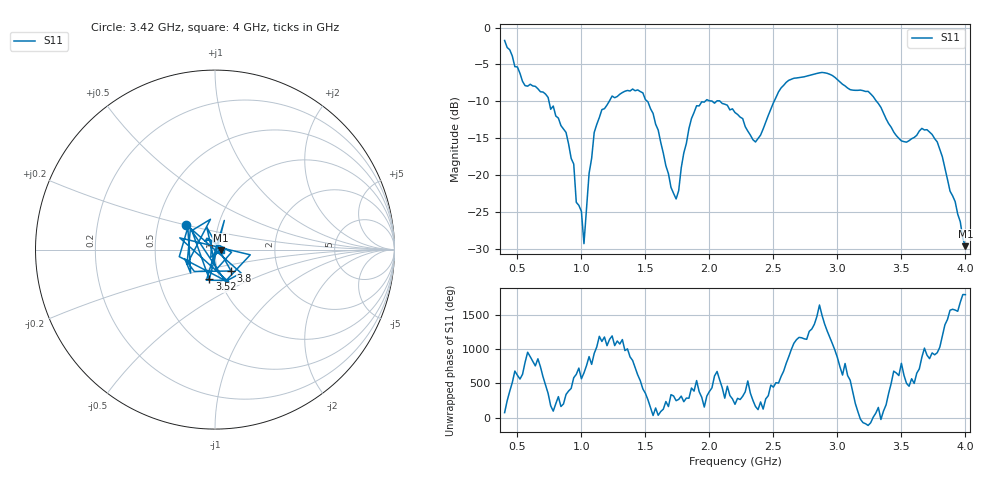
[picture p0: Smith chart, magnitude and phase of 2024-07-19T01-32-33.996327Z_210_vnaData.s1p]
!Created with skrf (http://scikit-rf.org).
# Hz S RI R 50.0
!freq ReS11 ImS11
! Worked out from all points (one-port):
!   181 points, 400 MHz to 4 GHz, reference 50 ohm
!   lowest |S11| = -29.7 dB at 4 GHz (marker M1), VSWR 1.07, Z = 53.4 - j0.442 ohm
!   |S11| at or under -10 dB: 746.5 MHz to 1.217 GHz (471 MHz wide, 48 % of centre); 1.515 GHz to 1.967 GHz (451.7 MHz wide, 25.9 % of centre); 3.306 GHz to end of sweep (the widest 3 of 5)
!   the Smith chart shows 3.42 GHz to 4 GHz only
!   S11 on the Smith chart (normalised r, x): 3.42 GHz: 0.70, +0.20; 3.52 GHz: 0.89, -0.30; 3.8 GHz: 1.16, -0.28; 4 GHz: 1.07, -0.01
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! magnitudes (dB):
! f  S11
! 400 MHz  -1.7
! 560 MHz  -7.9
! 720 MHz  -9.0
! 860 MHz  -13.8
! 940 MHz  -18.5
! 960 MHz  -23.7
! 1 GHz  -24.9
! 1.02 GHz  -29.3
! 1.06 GHz  -19.8
! 1.1 GHz  -14.2
! 1.3 GHz  -9.0
! 1.48 GHz  -8.9
! 1.6 GHz  -13.9
! 1.7 GHz  -21.7
! 1.76 GHz  -22.1
! 1.84 GHz  -13.7
! 1.9 GHz  -10.6
! 2.2 GHz  -11.5
! 2.36 GHz  -15.5
! 2.66 GHz  -6.9
! 3.1 GHz  -8.4
! 3.24 GHz  -8.7
! 3.42 GHz  -13.5
! 3.52 GHz  -15.5
! 3.56 GHz  -15.3
! 3.7 GHz  -13.9
! 3.8 GHz  -16.5
! 4 GHz  -29.7
